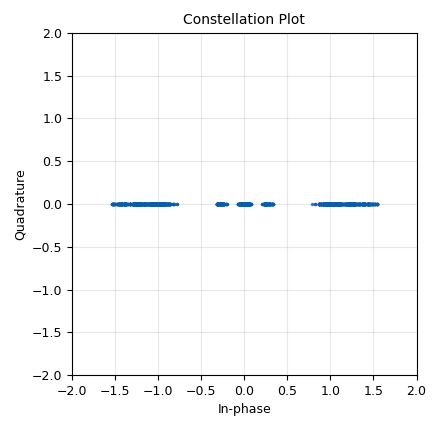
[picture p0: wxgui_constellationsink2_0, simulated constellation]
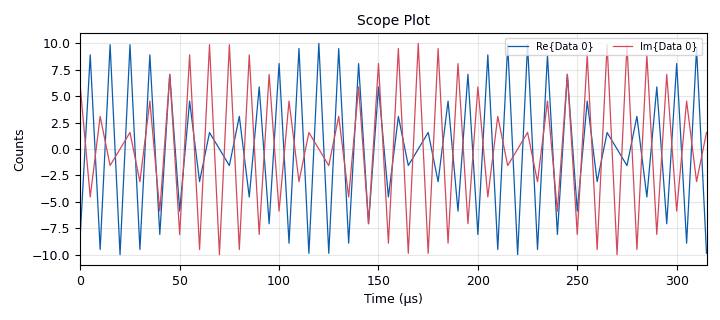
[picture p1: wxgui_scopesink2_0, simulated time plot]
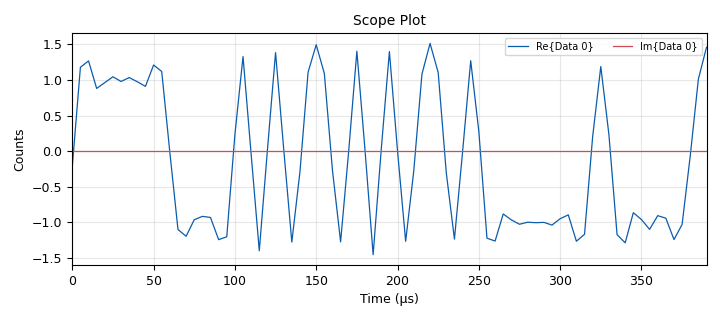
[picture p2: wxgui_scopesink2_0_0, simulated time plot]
<?xml version='1.0' encoding='utf-8'?>
<?grc format='1' created='3.7.13'?>
<flow_graph>
<block>
<key>options</key>
<param><key>id</key><value>top_block</value></param>
<param><key>generate_options</key><value>wx_gui</value></param>
</block>
<block>
<key>variable_slider</key>
<param><key>id</key><value>MixTone</value></param>
<param><key>converver</key><value>float_converter</value></param>
<param><key>value</key><value>5000</value></param>
<param><key>label</key><value></value></param>
<param><key>max</key><value>10000</value></param>
<param><key>min</key><value>1000</value></param>
<param><key>num_steps</key><value>20</value></param>
<param><key>style</key><value>wx.SL_HORIZONTAL</value></param>
</block>
<block>
<key>variable_slider</key>
<param><key>id</key><value>ToneAmp</value></param>
<param><key>converver</key><value>float_converter</value></param>
<param><key>value</key><value>1</value></param>
<param><key>label</key><value></value></param>
<param><key>max</key><value>10</value></param>
<param><key>min</key><value>0</value></param>
<param><key>num_steps</key><value>20</value></param>
<param><key>style</key><value>wx.SL_HORIZONTAL</value></param>
</block>
<block>
<key>variable</key>
<param><key>id</key><value>samp_rate</value></param>
<param><key>value</key><value>2*100e3</value></param>
</block>
<block>
<key>analog_sig_source_x</key>
<param><key>id</key><value>analog_sig_source_x_0</value></param>
<param><key>amp</key><value>10</value></param>
<param><key>freq</key><value>100e3</value></param>
<param><key>offset</key><value>0</value></param>
<param><key>type</key><value>complex</value></param>
<param><key>samp_rate</key><value>samp_rate</value></param>
<param><key>waveform</key><value>analog.GR_COS_WAVE</value></param>
</block>
<block>
<key>analog_sig_source_x</key>
<param><key>id</key><value>analog_sig_source_x_0_0</value></param>
<param><key>amp</key><value>ToneAmp</value></param>
<param><key>freq</key><value>MixTone</value></param>
<param><key>offset</key><value>0</value></param>
<param><key>type</key><value>complex</value></param>
<param><key>samp_rate</key><value>samp_rate</value></param>
<param><key>waveform</key><value>analog.GR_COS_WAVE</value></param>
</block>
<block>
<key>blocks_complex_to_interleaved_char</key>
<param><key>id</key><value>blocks_complex_to_interleaved_char_0</value></param>
<param><key>vector_output</key><value>False</value></param>
</block>
<block>
<key>blocks_multiply_xx</key>
<param><key>id</key><value>blocks_multiply_xx_0</value></param>
<param><key>type</key><value>complex</value></param>
</block>
<block>
<key>blocks_throttle</key>
<param><key>id</key><value>blocks_throttle_0</value></param>
<param><key>samples_per_second</key><value>samp_rate</value></param>
<param><key>type</key><value>complex</value></param>
</block>
<block>
<key>digital_psk_mod</key>
<param><key>id</key><value>digital_psk_mod_0</value></param>
<param><key>differential</key><value>True</value></param>
<param><key>excess_bw</key><value>0.35</value></param>
<param><key>mod_code</key><value>"gray"</value></param>
<param><key>log</key><value>True</value></param>
<param><key>constellation_points</key><value>2</value></param>
<param><key>samples_per_symbol</key><value>2</value></param>
<param><key>verbose</key><value>True</value></param>
</block>
<block>
<key>limesdr_sink</key>
<param><key>id</key><value>limesdr_sink_0</value></param>
<param><key>allow_tcxo_dac</key><value>0</value></param>
<param><key>calibr_bandw_ch0</key><value>5e6</value></param>
<param><key>digital_bandw_ch0</key><value>0</value></param>
<param><key>gain_dB_ch0</key><value>30</value></param>
<param><key>calibr_bandw_ch1</key><value>5e6</value></param>
<param><key>digital_bandw_ch1</key><value>0</value></param>
<param><key>gain_dB_ch1</key><value>30</value></param>
<param><key>pa_path_ch1</key><value>1</value></param>
<param><key>channel_mode</key><value>0</value></param>
<param><key>oversample</key><value>0</value></param>
<param><key>rf_freq</key><value>100e6</value></param>
<param><key>samp_rate</key><value>samp_rate</value></param>
<param><key>dacVal</key><value>125</value></param>
</block>
<block>
<key>wxgui_constellationsink2</key>
<param><key>id</key><value>wxgui_constellationsink2_0</value></param>
<param><key>const_size</key><value>2048</value></param>
<param><key>frame_rate</key><value>5</value></param>
<param><key>gain_mu</key><value>0.005</value></param>
<param><key>loop_bw</key><value>6.28/100.0</value></param>
<param><key>M</key><value>4</value></param>
<param><key>fmax</key><value>0.06</value></param>
<param><key>mu</key><value>0.5</value></param>
<param><key>omega_limit</key><value>0.005</value></param>
<param><key>samp_rate</key><value>samp_rate</value></param>
<param><key>symbol_rate</key><value>samp_rate/4.</value></param>
<param><key>theta</key><value>0</value></param>
<param><key>title</key><value>Constellation Plot</value></param>
</block>
<block>
<key>wxgui_scopesink2</key>
<param><key>id</key><value>wxgui_scopesink2_0</value></param>
<param><key>ac_couple</key><value>False</value></param>
<param><key>num_inputs</key><value>1</value></param>
<param><key>samp_rate</key><value>samp_rate</value></param>
<param><key>t_scale</key><value>0</value></param>
<param><key>title</key><value>Scope Plot</value></param>
<param><key>trig_mode</key><value>wxgui.TRIG_MODE_AUTO</value></param>
<param><key>type</key><value>complex</value></param>
<param><key>v_offset</key><value>0</value></param>
<param><key>v_scale</key><value>0</value></param>
<param><key>xy_mode</key><value>False</value></param>
<param><key>y_axis_label</key><value>Counts</value></param>
</block>
<block>
<key>wxgui_scopesink2</key>
<param><key>id</key><value>wxgui_scopesink2_0_0</value></param>
<param><key>ac_couple</key><value>False</value></param>
<param><key>num_inputs</key><value>1</value></param>
<param><key>samp_rate</key><value>samp_rate</value></param>
<param><key>t_scale</key><value>0</value></param>
<param><key>title</key><value>Scope Plot</value></param>
<param><key>trig_mode</key><value>wxgui.TRIG_MODE_AUTO</value></param>
<param><key>type</key><value>complex</value></param>
<param><key>v_offset</key><value>0</value></param>
<param><key>v_scale</key><value>0</value></param>
<param><key>xy_mode</key><value>False</value></param>
<param><key>y_axis_label</key><value>Counts</value></param>
</block>
<connection><source_block_id>analog_sig_source_x_0</source_block_id><sink_block_id>blocks_throttle_0</sink_block_id><source_key>0</source_key><sink_key>0</sink_key></connection>
<connection><source_block_id>analog_sig_source_x_0_0</source_block_id><sink_block_id>blocks_multiply_xx_0</sink_block_id><source_key>0</source_key><sink_key>1</sink_key></connection>
<connection><source_block_id>blocks_complex_to_interleaved_char_0</source_block_id><sink_block_id>digital_psk_mod_0</sink_block_id><source_key>0</source_key><sink_key>0</sink_key></connection>
<connection><source_block_id>blocks_multiply_xx_0</source_block_id><sink_block_id>blocks_complex_to_interleaved_char_0</sink_block_id><source_key>0</source_key><sink_key>0</sink_key></connection>
<connection><source_block_id>blocks_multiply_xx_0</source_block_id><sink_block_id>limesdr_sink_0</sink_block_id><source_key>0</source_key><sink_key>0</sink_key></connection>
<connection><source_block_id>blocks_multiply_xx_0</source_block_id><sink_block_id>wxgui_scopesink2_0</sink_block_id><source_key>0</source_key><sink_key>0</sink_key></connection>
<connection><source_block_id>blocks_throttle_0</source_block_id><sink_block_id>blocks_multiply_xx_0</sink_block_id><source_key>0</source_key><sink_key>0</sink_key></connection>
<connection><source_block_id>digital_psk_mod_0</source_block_id><sink_block_id>wxgui_constellationsink2_0</sink_block_id><source_key>0</source_key><sink_key>0</sink_key></connection>
<connection><source_block_id>digital_psk_mod_0</source_block_id><sink_block_id>wxgui_scopesink2_0_0</sink_block_id><source_key>0</source_key><sink_key>0</sink_key></connection>
</flow_graph>
